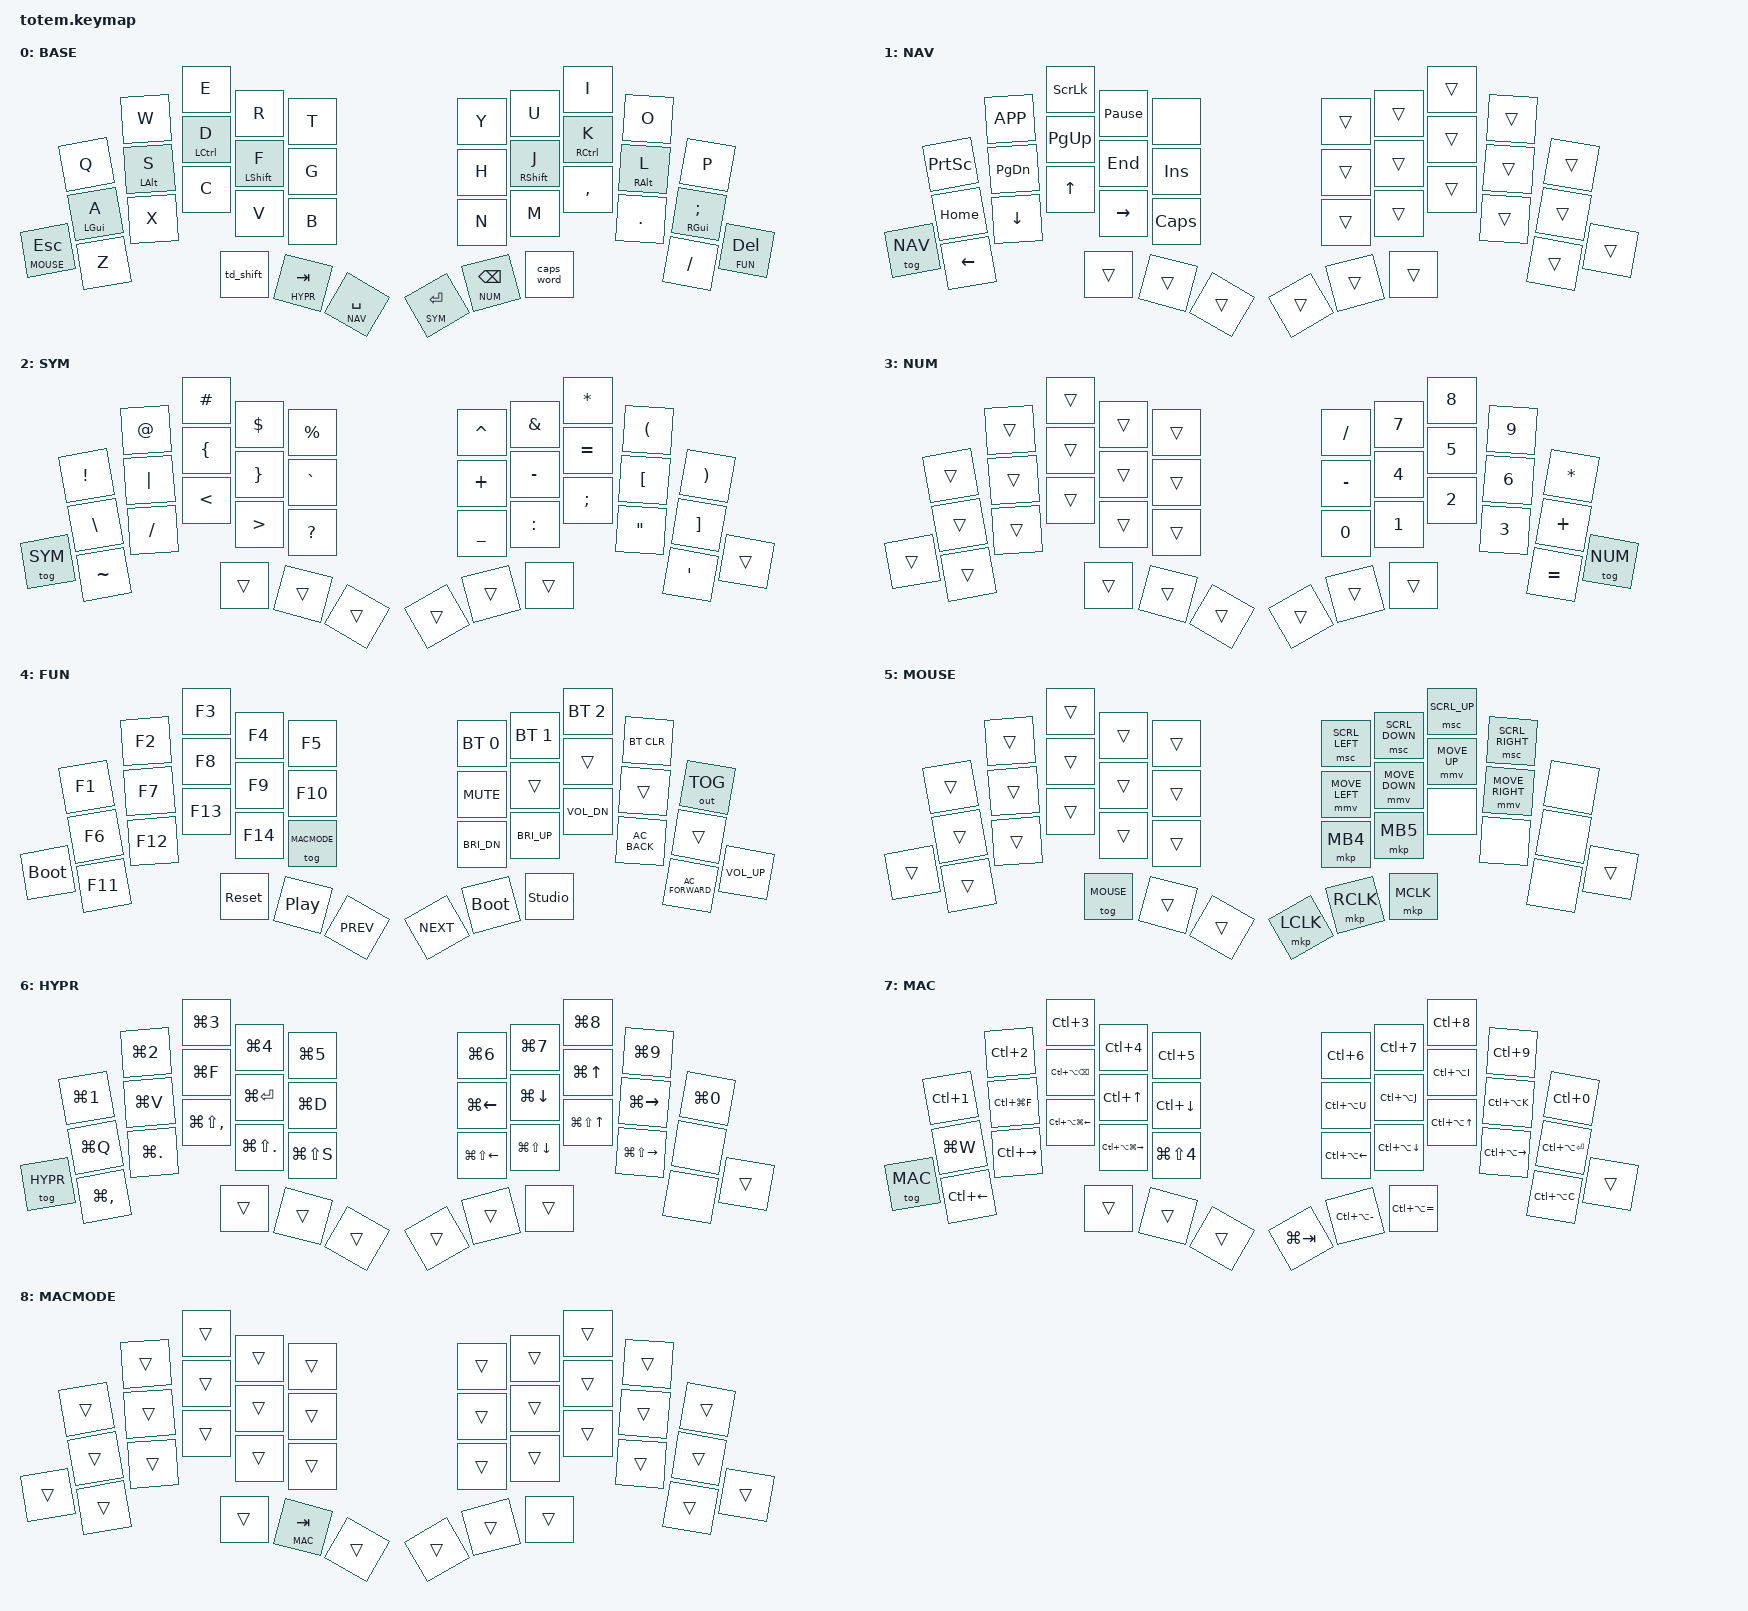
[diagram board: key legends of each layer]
/*
 * TOTEM (38 teclas · ZMK) — port del layout Moonlander MK I
 * ---------------------------------------------------------------------------
 * Capas 0-5 conservan las posiciones y mecánicas del Moonlander
 * (home-row mods simétricos, Space->NAV, Enter->SYM, Bksp->NUM, ADJ->FUN).
 * Capas 6 (HYPR) y 7 (MAC) son las capas de gestión de ventanas: se mantienen
 * completas, sólo se reacomodan por falta de teclas.
 * Capa 8 (MACMODE) es un overlay delgado: es el "interruptor de SO".
 *
 * ORDEN DE POSICIONES (transform oficial del shield totem, 4x10):
 *
 *   ╭─────────────────────────╮       ╭─────────────────────────╮
 *   │  0   1   2   3   4      │       │      5   6   7   8   9  │
 *   │ 10  11  12  13  14      │       │     15  16  17  18  19  │
 *   │ 20  21  22  23  24  25  │       │ 26  27  28  29  30  31  │
 *   ╰──────────╮ 32  33  34   │       │ 35  36  37 ╭────────────╯
 *              ╰──────────────╯       ╰────────────╯
 *
 *   20 y 31 = teclas extra de pinky (borde inferior, sólo Totem).
 *   32-34 = pulgares izquierdos (externo -> interno)
 *   35-37 = pulgares derechos (interno -> externo)
 *
 * ERGONOMÍA DEL PULGAR (regla del doc del Moonlander, invertida para Totem):
 *   en el Totem la tecla incómoda es la EXTERNA -> ahí sólo taps (32, 37).
 *   Los holds de capa van en las teclas cómodas: 33, 34, 35, 36.
 */

#include <behaviors.dtsi>
#include <dt-bindings/zmk/keys.h>
#include <dt-bindings/zmk/bt.h>
#include <dt-bindings/zmk/outputs.h>
#include <dt-bindings/zmk/pointing.h>

#define BASE    0
#define NAV     1
#define SYM     2
#define NUM     3
#define FUN     4
#define MOUSE   5
#define HYPR    6
#define MAC     7
#define MACMODE 8

/* ---------------------------------------------------------------------------
 * Velocidad del mouse (equivalente ZMK de Acl0/Acl1/Acl2 de QMK).
 * Los valores absolutos van en totem.conf (ZMK_POINTING_DEFAULT_*).
 * --------------------------------------------------------------------------- */
&mmv {
    acceleration-exponent = <1>;
    time-to-max-speed-ms = <400>;
    delay-ms = <0>;
};

&msc {
    acceleration-exponent = <0>;
    time-to-max-speed-ms = <300>;
    delay-ms = <0>;
};

/* Teclas de capa (&lt): "balanced" en vez del default "tap-preferred",
 * para que la capa salte al pulsar+soltar otra tecla dentro del término
 * (p.ej. mantener 31 y una F-key rápida) y no solo tras el timeout. */
&lt {
    flavor = "balanced";
    tapping-term-ms = <200>;
    quick-tap-ms = <175>;
};

/ {
    behaviors {
        /* Home-row mods "positional" (receta de la doc de ZMK / urob):
         *   - Una tecla de la MISMA mano nunca activa el mod: solo letra.
         *   - Mod + tecla de la mano contraria (o cualquier pulgar): sin
         *     delay. Encadenar mods de la misma mano (Ctrl+Shift = D+F)
         *     funciona porque hold-trigger-on-release difiere la decisión
         *     posicional hasta soltar la siguiente tecla.
         *   - Mantener el mod >280 ms: mod suelto, o mod + tecla del mismo
         *     lado a propósito.
         *   - require-prior-idle: al escribir rápido todo sale como letra.
         * hml lo usan las teclas 10-13 (A,S,D,F); hmr las 16-19 (J,K,L,;). */
        hml: homerow_mod_left {
            compatible = "zmk,behavior-hold-tap";
            #binding-cells = <2>;
            flavor = "balanced";
            tapping-term-ms = <280>;
            quick-tap-ms = <175>;
            require-prior-idle-ms = <150>;
            bindings = <&kp>, <&kp>;
            /* Solo disparan el hold las teclas de la mano derecha
             * (5-9, 15-19, 26-31) y los 6 pulgares (32-37). */
            hold-trigger-key-positions = <5 6 7 8 9 15 16 17 18 19
                                         26 27 28 29 30 31
                                         32 33 34 35 36 37>;
            hold-trigger-on-release;
        };

        hmr: homerow_mod_right {
            compatible = "zmk,behavior-hold-tap";
            #binding-cells = <2>;
            flavor = "balanced";
            tapping-term-ms = <280>;
            quick-tap-ms = <175>;
            require-prior-idle-ms = <150>;
            bindings = <&kp>, <&kp>;
            /* Solo disparan el hold las teclas de la mano izquierda
             * (0-4, 10-14, 20-25) y los 6 pulgares (32-37). */
            hold-trigger-key-positions = <0 1 2 3 4 10 11 12 13 14
                                         20 21 22 23 24 25
                                         32 33 34 35 36 37>;
            hold-trigger-on-release;
        };

        /* Pulgar externo izquierdo: 1 tap = sticky shift · 2 taps = shift lock.
         * Es el Tap Dance de "⇧ sticky / doble-tap = lock". */
        td_shift: tapdance_shift {
            compatible = "zmk,behavior-tap-dance";
            #binding-cells = <0>;
            tapping-term-ms = <180>;
            bindings = <&sk LSHFT>, <&kt LSHFT>;
        };
    };

    macros {
        /* Wrap de pares: inserta el par y deja el cursor dentro. */
        wrap_par: wrap_par {
            compatible = "zmk,behavior-macro";
            #binding-cells = <0>;
            wait-ms = <0>;
            tap-ms = <5>;
            bindings = <&kp LPAR &kp RPAR &kp LEFT>;
        };

        wrap_brc: wrap_brc {
            compatible = "zmk,behavior-macro";
            #binding-cells = <0>;
            wait-ms = <0>;
            tap-ms = <5>;
            bindings = <&kp LBRC &kp RBRC &kp LEFT>;
        };

        wrap_brk: wrap_brk {
            compatible = "zmk,behavior-macro";
            #binding-cells = <0>;
            wait-ms = <0>;
            tap-ms = <5>;
            bindings = <&kp LBKT &kp RBKT &kp LEFT>;
        };

        wrap_dqt: wrap_dqt {
            compatible = "zmk,behavior-macro";
            #binding-cells = <0>;
            wait-ms = <0>;
            tap-ms = <5>;
            bindings = <&kp DQT &kp DQT &kp LEFT>;
        };
    };

    /* ADJ del Totem: Space + Enter (ambos pulgares internos) -> FUN. */
    conditional_layers {
        compatible = "zmk,conditional-layers";

        tri_fun {
            if-layers = <NAV SYM>;
            then-layer = <FUN>;
        };
    };

    combos {
        compatible = "zmk,combos";

        /* J+K -> Esc */
        combo_esc {
            timeout-ms = <40>;
            require-prior-idle-ms = <80>;
            key-positions = <16 17>;
            bindings = <&kp ESC>;
        };

        /* S+D -> Tab */
        combo_tab {
            timeout-ms = <40>;
            require-prior-idle-ms = <80>;
            key-positions = <11 12>;
            bindings = <&kp TAB>;
        };

        /* K+L -> Backspace */
        combo_bspc {
            timeout-ms = <40>;
            require-prior-idle-ms = <80>;
            key-positions = <17 18>;
            bindings = <&kp BSPC>;
        };

        /* L+; -> Delete */
        combo_del {
            timeout-ms = <40>;
            require-prior-idle-ms = <80>;
            key-positions = <18 19>;
            bindings = <&kp DEL>;
        };

        /* M+, -> Enter */
        combo_ret {
            timeout-ms = <40>;
            require-prior-idle-ms = <80>;
            key-positions = <27 28>;
            bindings = <&kp RET>;
        };

        /* W+E -> ()  ·  E+R -> {}  ·  R+T -> []  ·  X+C -> "" */
        combo_par {
            timeout-ms = <40>;
            key-positions = <1 2>;
            bindings = <&wrap_par>;
        };

        combo_brc {
            timeout-ms = <40>;
            key-positions = <2 3>;
            bindings = <&wrap_brc>;
        };

        combo_brk {
            timeout-ms = <40>;
            key-positions = <3 4>;
            bindings = <&wrap_brk>;
        };

        combo_dqt {
            timeout-ms = <40>;
            key-positions = <22 23>;
            bindings = <&wrap_dqt>;
        };
    };

    keymap {
        compatible = "zmk,keymap";

        /* ===================================================== 0 · BASE ==
         * Letras + home-row mods + pulgares. Sin number-row (va en NUM).
         * 20 = Esc / hold MOUSE      31 = Del / hold FUN
         * 32 = sticky shift (2 taps = lock)
         * 33 = Tab / hold HYPR       (en MACMODE: Tab / hold MAC)
         * 34 = Space / hold NAV      35 = Enter / hold SYM
         * 36 = Bksp / hold NUM       37 = Caps Word
         */
        base_layer {
            display-name = "BASE";
            bindings = <
&kp Q            &kp W            &kp E             &kp R              &kp T                   &kp Y      &kp U              &kp I             &kp O            &kp P
&hml LGUI A      &hml LALT S      &hml LCTRL D      &hml LSHFT F      &kp G                   &kp H      &hmr RSHFT J      &hmr RCTRL K      &hmr RALT L      &hmr RGUI SEMI
&lt MOUSE ESC    &kp Z            &kp X             &kp C              &kp V      &kp B        &kp N      &kp M              &kp COMMA         &kp DOT          &kp FSLH      &lt FUN DEL
                                  &td_shift         &lt HYPR TAB       &lt NAV SPACE           &lt SYM RET  &lt NUM BSPC      &caps_word
            >;
        };

        /* ====================================================== 1 · NAV ==
         * Igual que en el Moonlander: todo en la mano izquierda.
         * La mano derecha queda &trans -> los mods de home row siguen vivos
         * (Shift+flechas para seleccionar, Ctrl+flechas por palabra, etc.)
         * 20 = &tog NAV (bloquear capa; era el doble-tap del Moonlander)
         */
        nav_layer {
            display-name = "NAV";
            bindings = <
&kp PSCRN        &kp K_APP        &kp SLCK          &kp PAUSE_BREAK    &none                   &trans     &trans             &trans            &trans           &trans
&kp HOME         &kp PG_DN        &kp PG_UP         &kp END            &kp INS                 &trans     &trans             &trans            &trans           &trans
&tog NAV         &kp LEFT         &kp DOWN          &kp UP             &kp RIGHT  &kp CAPS     &trans     &trans             &trans            &trans           &trans        &trans
                                  &trans            &trans             &trans                  &trans     &trans             &trans
            >;
        };

        /* ====================================================== 2 · SYM ==
         * Idéntica al Moonlander (mismas posiciones exactas).
         * 20 = &tog SYM (lock)
         */
        sym_layer {
            display-name = "SYM";
            bindings = <
&kp EXCL         &kp AT           &kp HASH          &kp DLLR           &kp PRCNT               &kp CARET  &kp AMPS           &kp ASTRK         &kp LPAR         &kp RPAR
&kp BSLH         &kp PIPE         &kp LBRC          &kp RBRC           &kp GRAVE               &kp PLUS   &kp MINUS          &kp EQUAL         &kp LBKT         &kp RBKT
&tog SYM         &kp TILDE        &kp FSLH          &kp LT             &kp GT     &kp QMARK    &kp UNDER  &kp COLON          &kp SEMI          &kp DQT          &kp SQT       &trans
                                  &trans            &trans             &trans                  &trans     &trans             &trans
            >;
        };

        /* ====================================================== 3 · NUM ==
         * Numpad idéntico al Moonlander, mano izquierda pasa (mods activos).
         * Dígitos normales, NO keypad: sin number-row en BASE esta capa es
         * la forma principal de escribir números y KP_* depende de NumLock.
         * 31 = &tog NUM (lock)
         */
        num_layer {
            display-name = "NUM";
            bindings = <
&trans           &trans           &trans            &trans             &trans                  &kp FSLH   &kp N7             &kp N8            &kp N9           &kp ASTRK
&trans           &trans           &trans            &trans             &trans                  &kp MINUS  &kp N4             &kp N5            &kp N6           &kp PLUS
&trans           &trans           &trans            &trans             &trans     &trans       &kp N0     &kp N1             &kp N2            &kp N3           &kp EQUAL     &tog NUM
                                  &trans            &trans             &trans                  &trans     &trans             &trans
            >;
        };

        /* ====================================================== 4 · FUN ==
         * Se entra de dos formas: hold en 31 (Del) o ADJ = Space+Enter.
         * Mano izquierda: F1-F14 + firmware. Mano derecha: la home row
         * queda &trans -> los mods siguen vivos (Ctrl+Shift+F5, etc.);
         * el resto es media + BT/USB (los extras que sólo existen en ZMK).
         * 25 = &tog MACMODE  -> cambia el SO objetivo (HYPR <-> MAC)
         * 15 = mute · 26-30 = brillo/vol-/browser · 31 = vol+
         * 33/34/35 = play/prev/next (34 y 35 inaccesibles vía ADJ)
         */
        fun_layer {
            display-name = "FUN";
            bindings = <
&kp F1           &kp F2           &kp F3            &kp F4             &kp F5                  &bt BT_SEL 0  &bt BT_SEL 1    &bt BT_SEL 2      &bt BT_CLR       &out OUT_TOG
&kp F6           &kp F7           &kp F8            &kp F9             &kp F10                 &kp C_MUTE    &trans          &trans            &trans           &trans
&bootloader      &kp F11          &kp F12           &kp F13            &kp F14    &tog MACMODE &kp C_BRI_DN  &kp C_BRI_UP    &kp C_VOL_DN      &kp C_AC_BACK    &kp C_AC_FORWARD  &kp C_VOL_UP
                                  &sys_reset        &kp C_PP           &kp C_PREV              &kp C_NEXT    &bootloader      &studio_unlock
            >;
        };

        /* ==================================================== 5 · MOUSE ==
         * Hold en 20 (Esc). Todo el mouse va en la mano derecha, así que la
         * izquierda queda libre: los mods de home row siguen funcionando
         * (Ctrl+clic, Shift+clic, ⌘+clic).
         * 32 = &tog MOUSE (lock, para mover el cursor sin mantener nada)
         * Acl0/1/2 de QMK no existe en ZMK: la aceleración se configura
         * arriba en &mmv / &msc.
         */
        mouse_layer {
            display-name = "MOUSE";
            bindings = <
&trans           &trans           &trans            &trans             &trans                  &msc SCRL_LEFT  &msc SCRL_DOWN &msc SCRL_UP   &msc SCRL_RIGHT  &none
&trans           &trans           &trans            &trans             &trans                  &mmv MOVE_LEFT  &mmv MOVE_DOWN &mmv MOVE_UP   &mmv MOVE_RIGHT  &none
&trans           &trans           &trans            &trans             &trans     &trans       &mkp MB4        &mkp MB5       &none          &none            &none         &trans
                                  &tog MOUSE        &trans             &trans                  &mkp LCLK       &mkp RCLK      &mkp MCLK
            >;
        };

        /* ===================================================== 6 · HYPR ==
         * Hold en 33 (Tab). Hyprland: cada tecla emite Super+algo.
         * En ZMK no hacen falta macros: LG(x) = Super+x.
         * AJUSTA ESTOS BINDS A TU hyprland.conf (ver GUIA.md).
         * 20 = &tog HYPR (lock) para trabajar con las dos manos.
         */
        hypr_layer {
            display-name = "HYPR";
            bindings = <
&kp LG(N1)       &kp LG(N2)       &kp LG(N3)        &kp LG(N4)         &kp LG(N5)              &kp LG(N6)      &kp LG(N7)     &kp LG(N8)     &kp LG(N9)       &kp LG(N0)
&kp LG(Q)        &kp LG(V)        &kp LG(F)         &kp LG(RET)        &kp LG(D)               &kp LG(LEFT)    &kp LG(DOWN)   &kp LG(UP)     &kp LG(RIGHT)    &none
&tog HYPR        &kp LG(COMMA)    &kp LG(DOT)       &kp LG(LS(COMMA))  &kp LG(LS(DOT)) &kp LG(LS(S))  &kp LG(LS(LEFT)) &kp LG(LS(DOWN)) &kp LG(LS(UP)) &kp LG(LS(RIGHT)) &none  &trans
                                  &trans            &trans             &trans                  &trans          &trans         &trans
            >;
        };

        /* ====================================================== 7 · MAC ==
         * Hold en 33 (Tab) cuando MACMODE está activo.
         * Izquierda = espacios/sistema (atajos nativos de macOS).
         * Derecha  = posición de ventana (defaults de Rectangle).
         * 20 = &tog MAC (lock)
         */
        mac_layer {
            display-name = "MAC";
            bindings = <
&kp LC(N1)       &kp LC(N2)       &kp LC(N3)        &kp LC(N4)         &kp LC(N5)              &kp LC(N6)      &kp LC(N7)        &kp LC(N8)        &kp LC(N9)        &kp LC(N0)
&kp LG(W)        &kp LC(LG(F))    &kp LC(LA(BSPC))  &kp LC(UP)         &kp LC(DOWN)            &kp LC(LA(U))   &kp LC(LA(J))     &kp LC(LA(I))     &kp LC(LA(K))     &kp LC(LA(RET))
&tog MAC         &kp LC(LEFT)     &kp LC(RIGHT)     &kp LC(LA(LG(LEFT)))  &kp LC(LA(LG(RIGHT)))  &kp LG(LS(N4))  &kp LC(LA(LEFT))  &kp LC(LA(DOWN))  &kp LC(LA(UP))    &kp LC(LA(RIGHT)) &kp LC(LA(C))  &trans
                                  &trans            &trans             &trans                  &kp LG(TAB)     &kp LC(LA(MINUS)) &kp LC(LA(EQUAL))
            >;
        };

        /* ================================================== 8 · MACMODE ==
         * Overlay de SO. Se enciende/apaga con &tog MACMODE (capa FUN).
         * Sólo cambia una tecla: el pulgar 33 pasa de HYPR a MAC.
         * Todo lo demás es &trans, así que el resto del teclado es idéntico.
         */
        macmode_layer {
            display-name = "MACMODE";
            bindings = <
&trans           &trans           &trans            &trans             &trans                  &trans     &trans             &trans            &trans           &trans
&trans           &trans           &trans            &trans             &trans                  &trans     &trans             &trans            &trans           &trans
&trans           &trans           &trans            &trans             &trans     &trans       &trans     &trans             &trans            &trans           &trans        &trans
                                  &trans            &lt MAC TAB        &trans                  &trans     &trans             &trans
            >;
        };
    };
};
